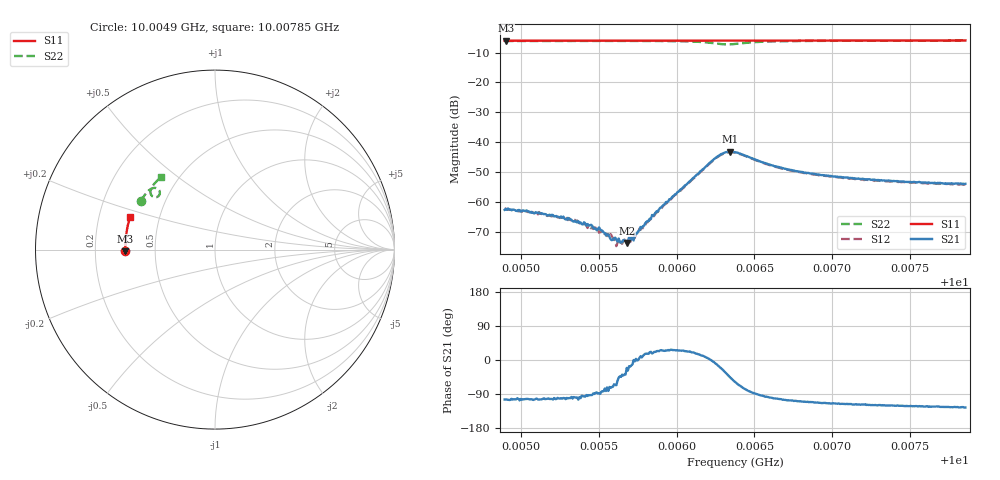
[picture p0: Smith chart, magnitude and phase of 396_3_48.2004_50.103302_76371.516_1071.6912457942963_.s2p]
#  HZ  S  RI  R  50.00
! Rohde & Schwarz Vector Network Analyzer
! Rohde-Schwarz,ZNB20-2Port,1311601062101988,3.16
! Created: UTC 3/20/2024, 11:53:50 AM
! freq[Hz]  re:S11  im:S11  re:S21  im:S21  re:S12  im:S12  re:S22  im:S22
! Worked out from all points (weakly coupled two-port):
!   401 points, 10.0049 GHz to 10.00785 GHz, reference 50 ohm
!   highest |S21| = -43.15 dB at 10.00635 GHz (marker M1); lowest = -73.8 dB at 10.00568 GHz (marker M2)
!   lowest |S11| = -6.0 dB at 10.0049 GHz (marker M3), VSWR 2.99, Z = 16.7 - j0.382 ohm
!   |S11| at or under -10 dB: nowhere
!   |S22| runs from -7.3 to -6.0 dB; largest |S21 - S12| = 0.00042
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1.0004896e10  -0.4994 -0.00891  -0.00018 -0.000717  -0.000161 -0.000765  -0.413 0.2713
1.0004903e10  -0.4992 -0.00859  -0.000188 -0.000738  -0.000148 -0.00076  -0.4126 0.2718
1.0005029e10  -0.4997 -0.000306  -0.000158 -0.000683  -0.00015 -0.000724  -0.4081 0.2792
1.0005192e10  -0.4999 0.0102  -0.000133 -0.00058  -0.000106 -0.000571  -0.402 0.2887
1.0005391e10  -0.4999 0.0232  -2.94e-05 -0.000423  -2.51e-05 -0.000447  -0.394 0.3008
1.0005443e10  -0.4995 0.0267  -2.01e-05 -0.000405  7.71e-06 -0.000384  -0.3916 0.3039
1.000551e10  -0.4996 0.0309  4.33e-06 -0.000346  4.32e-05 -0.000317  -0.3886 0.3079
1.0005576e10  -0.4994 0.0352  6.71e-05 -0.000229  9.11e-05 -0.000276  -0.3855 0.312
1.0005606e10  -0.4994 0.0372  0.000106 -0.00023  9.76e-05 -0.0002  -0.3839 0.3138
1.0005636e10  -0.4994 0.0391  0.000158 -0.000148  0.000156 -0.00014  -0.3823 0.3155
1.000568e10  -0.499 0.042  0.000192 -7.33e-05  0.000197 -9.03e-05  -0.38 0.3183
1.0005717e10  -0.499 0.0443  0.000243 -4.9e-05  0.000264 -4.6e-05  -0.3777 0.3207
1.0005754e10  -0.4988 0.0468  0.000324 -1.2e-07  0.000313 4.18e-05  -0.3757 0.323
1.0005887e10  -0.4983 0.0553  0.000691 0.000295  0.000655 0.000327  -0.3663 0.3317
1.0006242e10  -0.4955 0.0781  0.00523 -0.000576  0.00513 -0.000321  -0.311 0.3305
1.0006301e10  -0.4949 0.0815  0.00583 -0.00309  0.00583 -0.00274  -0.3085 0.3084
1.0006346e10  -0.4946 0.0843  0.00479 -0.00505  0.00496 -0.00469  -0.3204 0.2942
1.0006375e10  -0.4944 0.086  0.00362 -0.00578  0.00385 -0.0055  -0.3317 0.2912
1.0006634e10  -0.4922 0.1026  -0.000799 -0.00388  -0.000593 -0.00384  -0.3585 0.3315
1.0006871e10  -0.4894 0.1176  -0.00108 -0.00279  -0.000936 -0.00275  -0.3483 0.3534
1.0007367e10  -0.4819 0.1488  -0.00115 -0.00197  -0.00103 -0.00195  -0.3232 0.3827
1.0007855e10  -0.4726 0.1788  -0.00117 -0.00164  -0.00104 -0.00165  -0.2984 0.4056
